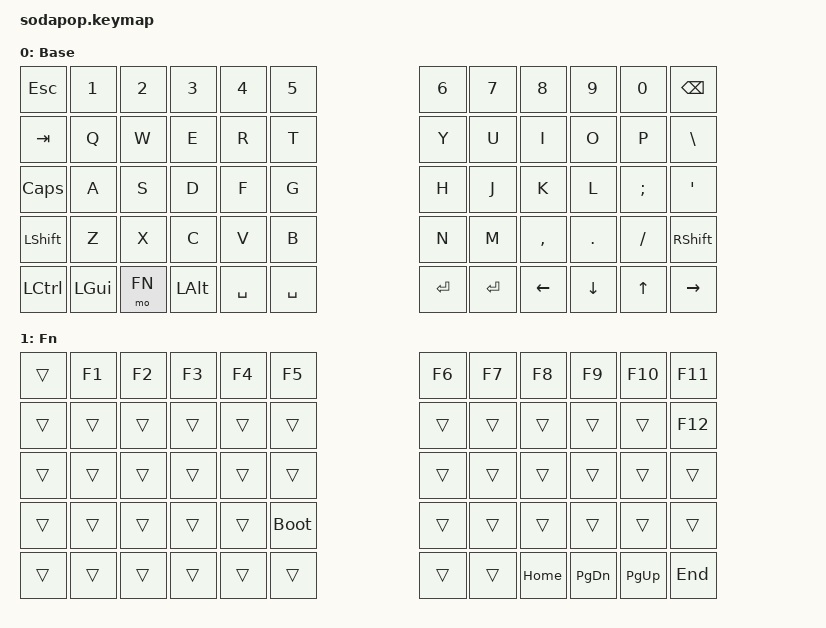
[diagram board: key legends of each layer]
#include <behaviors.dtsi>
#include <dt-bindings/zmk/keys.h>
#include <dt-bindings/zmk/bt.h>

#define BASE 0
#define FN   1

/ {
    keymap {
        compatible = "zmk,keymap";

        default_layer {
            display-name = "Base";
            bindings = <
&kp ESC   &kp N1   &kp N2  &kp N3   &kp N4    &kp N5                          &kp N6  &kp N7  &kp N8    &kp N9   &kp N0    &kp BSPC
&kp TAB   &kp Q    &kp W   &kp E    &kp R     &kp T                           &kp Y   &kp U   &kp I     &kp O    &kp P     &kp BSLH
&kp CAPS  &kp A    &kp S   &kp D    &kp F     &kp G                           &kp H   &kp J   &kp K     &kp L    &kp SEMI  &kp SQT
&kp LSHFT &kp Z    &kp X   &kp C    &kp V     &kp B                           &kp N   &kp M   &kp COMMA &kp DOT  &kp FSLH  &kp RSHFT
&kp LCTRL &kp LGUI &mo FN  &kp LALT &kp SPACE &kp SPACE                       &kp RET &kp RET &kp LEFT  &kp DOWN &kp UP    &kp RIGHT
            >;
        };

        fn_layer {
            display-name = "Fn";
            bindings = <
&trans    &kp F1   &kp F2   &kp F3    &kp F4     &kp F5                   &kp F6    &kp F7   &kp F8   &kp F9    &kp F10   &kp F11
&trans    &trans   &trans   &trans    &trans     &trans                   &trans    &trans   &trans   &trans    &trans    &kp F12                   
&trans    &trans   &trans   &trans    &trans     &trans                   &trans    &trans   &trans   &trans    &trans    &trans                   
&trans    &trans   &trans   &trans    &trans     &bootloader              &trans    &trans   &trans   &trans    &trans    &trans                   
&trans    &trans   &trans   &trans    &trans     &trans                   &trans    &trans   &kp HOME &kp PG_DN &kp PG_UP &kp END
            >;
        };
    };
};
